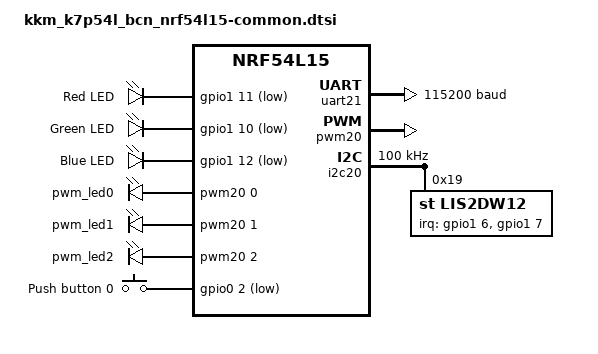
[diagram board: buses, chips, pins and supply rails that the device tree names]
/*
 * Copyright (c) 2024 Nordic Semiconductor ASA
 *
 * SPDX-License-Identifier: Apache-2.0
 */

#include "kkm_k7p54l_bcn_nrf54l15-pinctrl.dtsi"

/ {
	leds {
		compatible = "gpio-leds";
		led0: led_0 {
			gpios = <&gpio1 11 (GPIO_ACTIVE_LOW | GPIO_PULL_UP)>;
			label = "Red LED";
		};
		led1: led_1 {
			gpios = <&gpio1 10 (GPIO_ACTIVE_LOW | GPIO_PULL_UP)>;
			label = "Green LED";
		};
		led2: led_2 {
			gpios = <&gpio1 12 (GPIO_ACTIVE_LOW | GPIO_PULL_UP)>;
			label = "Blue LED";
		};
	};

	pwmleds {
		compatible = "pwm-leds";
		pwm_led0: pwm_led_0 {
			pwms = <&pwm20 0 PWM_MSEC(20) PWM_POLARITY_INVERTED>;
		};
		pwm_led1: pwm_led_1 {
			pwms = <&pwm20 1 PWM_MSEC(20) PWM_POLARITY_INVERTED>;
		};
		pwm_led2: pwm_led_2 {
			pwms = <&pwm20 2 PWM_MSEC(20) PWM_POLARITY_INVERTED>;
		};
	};

	buttons {
		compatible = "gpio-keys";
		button0: button_0 {
			gpios = <&gpio0 2 (GPIO_PULL_UP | GPIO_ACTIVE_LOW)>;
			label = "Push button 0";
			zephyr,code = <INPUT_KEY_0>;
		};
	};

	aliases {
		led0 = &led0;
		led1 = &led1;
		led2 = &led2;
		pwm-led0 = &pwm_led0;
		pwm-led1 = &pwm_led1;
		pwm-led2 = &pwm_led2;
		sw0 = &button0;
		watchdog0 = &wdt31;
		accel0 = &lis2dw12;
	};
};

&uart21 {
	current-speed = <115200>;
	pinctrl-0 = <&uart21_default>;
	pinctrl-1 = <&uart21_sleep>;
	pinctrl-names = "default", "sleep";
};

&pwm20 {
	status = "okay";
	pinctrl-0 = <&pwm20_default>;
	pinctrl-1 = <&pwm20_sleep>;
	pinctrl-names = "default", "sleep";
};

&i2c20 {
	status = "okay";
	pinctrl-0 = <&i2c20_default>;
	pinctrl-1 = <&i2c20_sleep>;
	pinctrl-names = "default", "sleep";
	clock-frequency = <I2C_BITRATE_STANDARD>;

	lis2dw12: lis2dw12@19 {
		compatible = "st,lis2dw12";
		reg = <0x19>;
		irq-gpios = <&gpio1 6 GPIO_ACTIVE_HIGH>, <&gpio1 7 GPIO_ACTIVE_HIGH>;
		status = "okay";
	};
};
